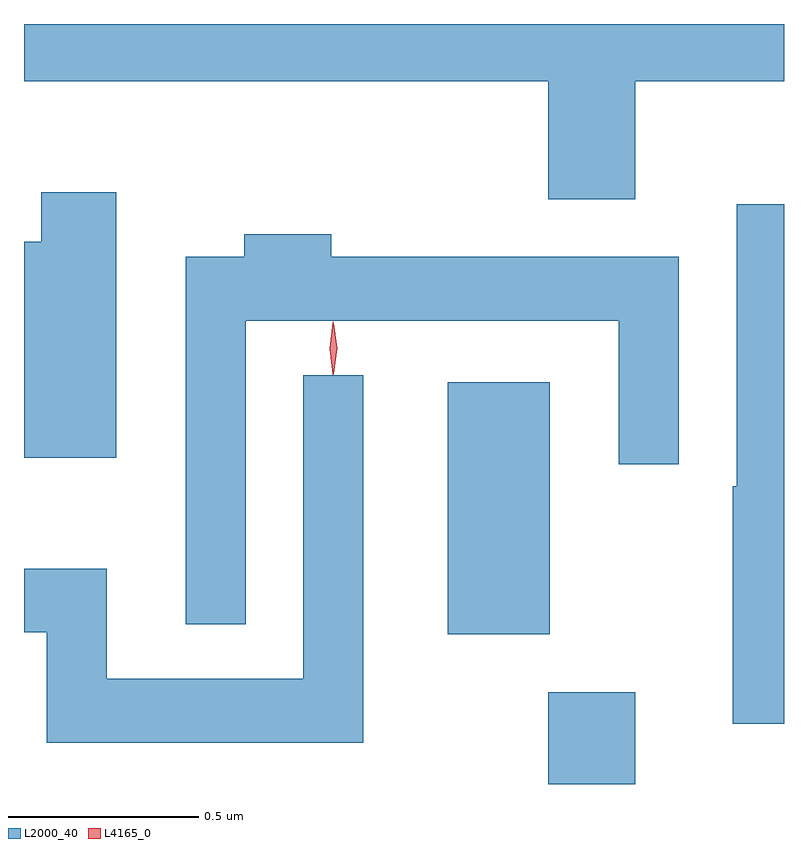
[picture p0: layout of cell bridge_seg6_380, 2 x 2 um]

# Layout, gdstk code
import gdstk
lib = gdstk.Library(unit=1e-6, precision=1e-09)
def R(c, l, rs):  # rectangles x0, y0, x1, y1
    for r in rs: c.add(gdstk.rectangle(r[:2], r[2:], *l))
def P(c, l, *ps):  # polygons
    for p in ps: c.add(gdstk.Polygon(p, *l))
L2000_40 = (2000, 40)
L4165_0 = (4165, 0)

bridge_seg6_380 = lib.new_cell('bridge_seg6_380')
R(bridge_seg6_380, L2000_40, [(1291.481,1550.407,1291.709,1550.649), (1291.216,1550.801,1291.484,1551.464)])
P(bridge_seg6_380, L2000_40, [(1291.709,1552.256),(1292.101,1552.256),(1292.101,1552.407),(1290.101,1552.407),(1290.101,1552.256),(1291.481,1552.256),(1291.481,1551.946),(1291.709,1551.946)],
  [(1290.344,1551.964),(1290.146,1551.964),(1290.146,1551.834),(1290.101,1551.834),(1290.101,1551.266),(1290.344,1551.266)],
  [(1292.101,1551.933),(1291.976,1551.933),(1291.976,1551.19),(1291.966,1551.19),(1291.966,1550.566),(1292.101,1550.566)],
  [(1290.684,1551.626),(1291.666,1551.626),(1291.666,1551.248),(1291.824,1551.248),(1291.824,1551.794),(1290.909,1551.794),(1290.909,1551.854),(1290.681,1551.854),(1290.681,1551.794),(1290.526,1551.794),(1290.526,1550.828),(1290.684,1550.828)],
  [(1290.994,1551.483),(1290.836,1551.483),(1290.836,1550.684),(1290.319,1550.684),(1290.319,1550.974),(1290.101,1550.974),(1290.101,1550.806),(1290.161,1550.806),(1290.161,1550.516),(1290.994,1550.516)])
P(bridge_seg6_380, L4165_0, [(1290.914,1551.484),(1290.905,1551.553),(1290.914,1551.622),(1290.915,1551.623),(1290.915,1551.622),(1290.925,1551.553),(1290.915,1551.484),(1290.915,1551.484)],
  [(1290.914,1551.487),(1290.905,1551.554),(1290.914,1551.62),(1290.915,1551.621),(1290.916,1551.62),(1290.925,1551.554),(1290.916,1551.487),(1290.915,1551.487)])

lib.write_gds('bridge_seg6_380.gds')
